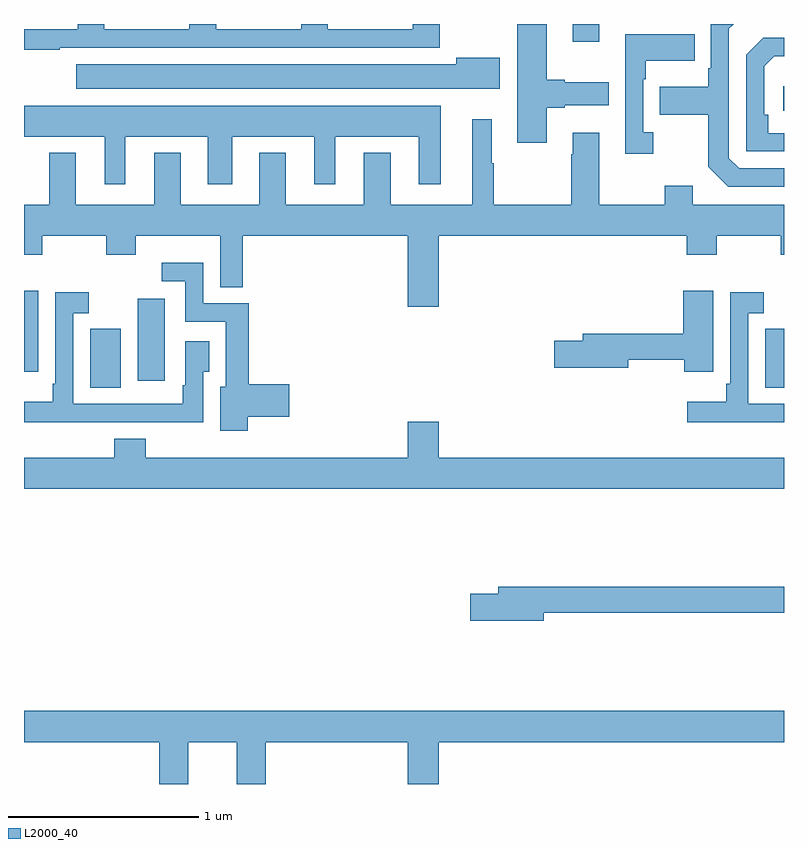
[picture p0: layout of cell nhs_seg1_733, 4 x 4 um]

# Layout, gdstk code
import gdstk
lib = gdstk.Library(unit=1e-6, precision=1e-09)
def R(c, l, rs):  # rectangles x0, y0, x1, y1
    for r in rs: c.add(gdstk.rectangle(r[:2], r[2:], *l))
def P(c, l, *ps):  # polygons
    for p in ps: c.add(gdstk.Polygon(p, *l))
L2000_40 = (2000, 40)

nhs_seg1_733 = lib.new_cell('nhs_seg1_733')
R(nhs_seg1_733, L2000_40, [(151.349,532.285,151.51,532.596), (154.901,532.285,155,532.596), (151.598,532.322,151.741,532.753), (151,532.368,151.075,532.795), (154.995,533.742,155,533.872), (153.887,534.105,154.027,534.199)])
P(nhs_seg1_733, L2000_40, [(155,533.439),(154.764,533.439),(154.71,533.493),(154.71,534.174),(154.735,534.199),(154.614,534.199),(154.614,533.965),(154.602,533.965),(154.602,533.869),(154.345,533.869),(154.345,533.722),(154.602,533.722),(154.602,533.449),(154.707,533.343),(155,533.343)],
  [(153.751,533.759),(153.847,533.759),(153.847,533.771),(154.078,533.771),(154.078,533.893),(153.847,533.893),(153.847,533.906),(153.751,533.906),(153.751,534.199),(153.596,534.199),(153.596,533.574),(153.751,533.574)],
  [(151.187,534.075),(153.187,534.075),(153.187,534.199),(153.047,534.199),(153.047,534.171),(152.599,534.171),(152.599,534.199),(152.459,534.199),(152.459,534.171),(152.011,534.171),(152.011,534.199),(151.871,534.199),(151.871,534.171),(151.423,534.171),(151.423,534.199),(151.283,534.199),(151.283,534.171),(151,534.171),(151,534.063),(151.187,534.063)],
  [(154.312,533.63),(154.26,533.63),(154.26,533.909),(154.273,533.909),(154.273,534.005),(154.529,534.005),(154.529,534.145),(154.164,534.145),(154.164,533.517),(154.312,533.517)],
  [(155,533.625),(154.916,533.625),(154.916,533.722),(154.896,533.722),(154.896,533.976),(154.949,534.029),(155,534.029),(155,534.126),(154.89,534.126),(154.8,534.036),(154.8,533.529),(155,533.529)],
  [(153.505,534.022),(153.275,534.022),(153.275,533.986),(151.275,533.986),(151.275,533.858),(153.505,533.858)],
  [(151.534,533.606),(151.967,533.606),(151.967,533.355),(152.095,533.355),(152.095,533.606),(152.528,533.606),(152.528,533.355),(152.638,533.355),(152.638,533.606),(153.077,533.606),(153.077,533.355),(153.193,533.355),(153.193,533.77),(151,533.77),(151,533.606),(151.424,533.606),(151.424,533.355),(151.534,533.355)],
  [(153.184,533.084),(154.487,533.084),(154.487,532.985),(154.647,532.985),(154.647,533.084),(154.984,533.084),(154.984,532.985),(155,532.985),(155,533.248),(154.519,533.248),(154.519,533.347),(154.372,533.347),(154.372,533.248),(154.027,533.248),(154.027,533.626),(153.887,533.626),(153.887,533.513),(153.88,533.513),(153.88,533.248),(153.473,533.248),(153.473,533.465),(153.463,533.465),(153.463,533.698),(153.359,533.698),(153.359,533.248),(152.929,533.248),(152.929,533.521),(152.789,533.521),(152.789,533.248),(152.377,533.248),(152.377,533.521),(152.237,533.521),(152.237,533.248),(151.825,533.248),(151.825,533.521),(151.685,533.521),(151.685,533.248),(151.273,533.248),(151.273,533.521),(151.133,533.521),(151.133,533.248),(151,533.248),(151,532.985),(151.095,532.985),(151.095,533.084),(151.432,533.084),(151.432,532.985),(151.587,532.985),(151.587,533.084),(152.033,533.084),(152.033,532.813),(152.152,532.813),(152.152,533.084),(153.02,533.084),(153.02,532.71),(153.184,532.71)],
  [(152.177,532.133),(152.395,532.133),(152.395,532.304),(152.182,532.304),(152.182,532.728),(151.944,532.728),(151.944,532.942),(151.725,532.942),(151.725,532.845),(151.848,532.845),(151.848,532.632),(152.063,532.632),(152.063,532.291),(152.033,532.291),(152.033,532.059),(152.177,532.059)],
  [(154.627,532.795),(154.469,532.795),(154.469,532.568),(153.941,532.568),(153.941,532.532),(153.792,532.532),(153.792,532.39),(154.18,532.39),(154.18,532.432),(154.474,532.432),(154.474,532.368),(154.627,532.368)],
  [(154.909,532.104),(155,532.104),(155,532.2),(154.812,532.2),(154.812,532.677),(154.894,532.677),(154.894,532.786),(154.716,532.786),(154.716,532.306),(154.696,532.306),(154.696,532.21),(154.491,532.21),(154.491,532.103),(154.909,532.103)],
  [(151.357,532.104),(151.723,532.104),(151.723,532.103),(151.944,532.103),(151.944,532.369),(151.975,532.369),(151.975,532.528),(151.848,532.528),(151.848,532.297),(151.836,532.297),(151.836,532.2),(151.26,532.2),(151.26,532.677),(151.342,532.677),(151.342,532.786),(151.164,532.786),(151.164,532.306),(151.152,532.306),(151.152,532.21),(151,532.21),(151,532.103),(151.357,532.103)],
  [(155,531.916),(153.184,531.916),(153.184,532.105),(153.02,532.105),(153.02,531.916),(151.64,531.916),(151.64,532.015),(151.475,532.015),(151.475,531.916),(151,531.916),(151,531.752),(155,531.752)],
  [(153.736,531.1),(155,531.1),(155,531.236),(153.497,531.236),(153.497,531.2),(153.348,531.2),(153.348,531.058),(153.736,531.058)],
  [(151,530.42),(151.712,530.42),(151.712,530.199),(151.864,530.199),(151.864,530.42),(152.12,530.42),(152.12,530.199),(152.273,530.199),(152.273,530.42),(153.02,530.42),(153.02,530.199),(153.184,530.199),(153.184,530.42),(155,530.42),(155,530.584),(151,530.584)])

lib.write_gds('nhs_seg1_733.gds')
